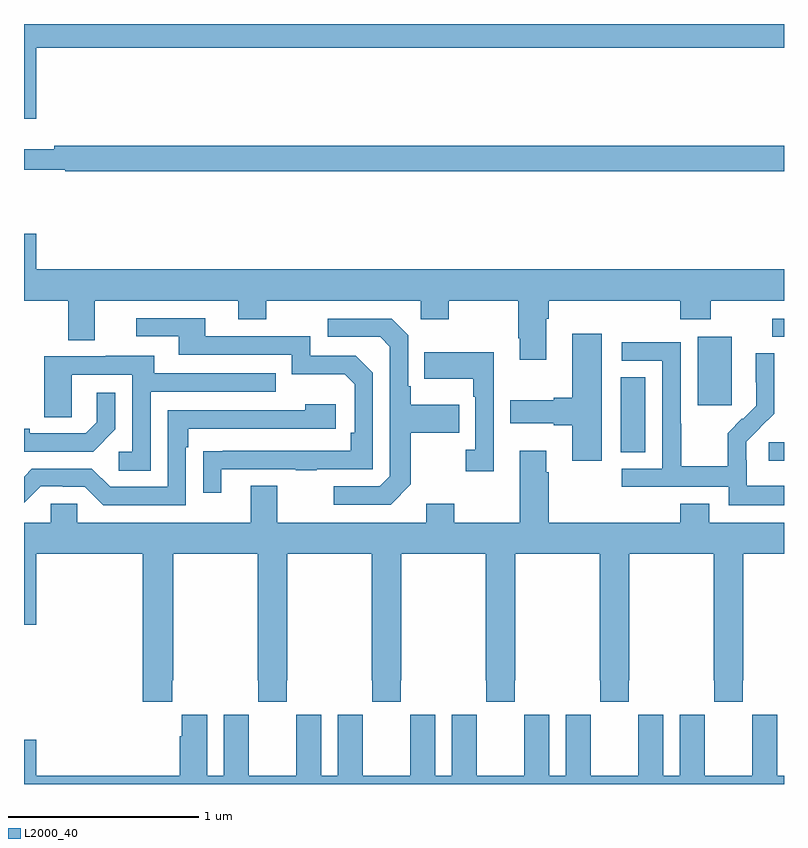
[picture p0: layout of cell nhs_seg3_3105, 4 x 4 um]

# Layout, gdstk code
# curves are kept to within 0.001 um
import gdstk
lib = gdstk.Library(unit=1e-6, precision=1e-09)
def R(c, l, rs):  # rectangles x0, y0, x1, y1
    for r in rs: c.add(gdstk.rectangle(r[:2], r[2:], *l))
def P(c, l, *ps):  # polygons
    for p in ps: c.add(gdstk.Polygon(p, *l))
L2000_40 = (2000, 40)

nhs_seg3_3105 = lib.new_cell('nhs_seg3_3105')
R(nhs_seg3_3105, L2000_40, [(276.921,672.101,277,672.198), (276.14,672.145,276.271,672.542), (276.545,672.393,276.724,672.754), (276.939,672.753,277,672.849)])
P(nhs_seg3_3105, L2000_40, [(273.064,674.276),(277,674.276),(277,674.4),(273,674.4),(273,673.902),(273.064,673.902)],
  [(277,673.76),(273.16,673.76),(273.16,673.741),(273,673.741),(273,673.632),(273.218,673.632),(273.218,673.624),(277,673.624)],
  [(275.749,672.848),(275.762,672.848),(275.762,672.944),(276.455,672.944),(276.455,672.845),(276.615,672.845),(276.615,672.944),(277,672.944),(277,673.108),(273.064,673.108),(273.064,673.297),(273,673.297),(273,672.944),(273.233,672.944),(273.233,672.736),(273.373,672.736),(273.373,672.944),(274.127,672.944),(274.127,672.845),(274.275,672.845),(274.275,672.944),(275.088,672.944),(275.088,672.845),(275.235,672.845),(275.235,672.944),(275.602,672.944),(275.602,672.745),(275.609,672.745),(275.609,672.633),(275.749,672.633)],
  [(274.039,672.057),(274.429,672.057),(274.429,672.052),(274.541,672.052),(274.541,672.057),(274.836,672.057),(274.836,672.564),(274.746,672.654),(274.506,672.654),(274.506,672.756),(273.955,672.756),(273.955,672.852),(273.591,672.852),(273.591,672.756),(273.815,672.756),(273.815,672.66),(274.41,672.66),(274.41,672.557),(274.687,672.557),(274.74,672.504),(274.74,672.25),(274.72,672.25),(274.72,672.153),(273.943,672.152),(273.943,671.934),(274.039,671.934)],
  [(275.035,671.977),(275.035,672.25),(275.291,672.25),(275.291,672.397),(275.035,672.397),(275.035,672.493),(275.022,672.493),(275.022,672.762),(274.935,672.849),(274.599,672.849),(274.599,672.753),(274.875,672.753),(274.926,672.702),(274.926,672.021),(274.872,671.967),(274.629,671.967),(274.629,671.871),(274.929,671.871)],
  [(276.04,672.769),(275.885,672.769),(275.885,672.434),(275.789,672.434),(275.789,672.421),(275.559,672.421),(275.559,672.299),(275.789,672.299),(275.789,672.287),(275.885,672.287),(275.885,672.102),(276.04,672.102)],
  [(277,671.971),(276.804,671.971),(276.804,672.105),(276.802,672.105),(276.802,672.202),(276.948,672.35),(276.948,672.668),(276.852,672.668),(276.852,672.514),(276.854,672.514),(276.854,672.392),(276.783,672.321),(276.78,672.324),(276.703,672.247),(276.703,672.073),(276.459,672.073),(276.459,672.296),(276.456,672.296),(276.456,672.726),(276.147,672.726),(276.147,672.627),(276.36,672.627),(276.36,672.06),(276.147,672.06),(276.147,671.964),(276.708,671.964),(276.708,671.867),(277,671.867)],
  [(275.472,672.673),(275.107,672.673),(275.107,672.533),(275.364,672.533),(275.364,672.437),(275.376,672.437),(275.376,672.158),(275.325,672.158),(275.325,672.045),(275.472,672.045)],
  [(273.666,672.465),(274.325,672.465),(274.325,672.561),(273.685,672.561),(273.685,672.655),(273.431,672.655),(273.431,672.651),(273.107,672.651),(273.107,672.331),(273.252,672.331),(273.252,672.555),(273.57,672.555),(273.57,672.15),(273.498,672.15),(273.498,672.049),(273.666,672.049)],
  [(273.48,672.266),(273.48,672.46),(273.383,672.46),(273.383,672.303),(273.326,672.246),(273.031,672.246),(273.031,672.269),(273,672.269),(273,672.15),(273.364,672.15)],
  [(273.852,672.173),(273.865,672.173),(273.865,672.27),(274.642,672.27),(274.642,672.4),(274.481,672.4),(274.481,672.366),(273.756,672.366),(273.756,671.964),(273.453,671.964),(273.357,672.06),(273.042,672.06),(273,672.018),(273,671.88),(273.087,671.967),(273.203,671.967),(273.203,671.964),(273.321,671.964),(273.417,671.868),(273.852,671.868)],
  [(273.779,670.945),(273.786,670.945),(273.786,671.612),(274.231,671.612),(274.231,670.945),(274.233,670.945),(274.233,670.833),(274.383,670.833),(274.383,670.945),(274.386,670.945),(274.386,671.612),(274.831,671.612),(274.831,670.945),(274.833,670.945),(274.833,670.833),(274.983,670.833),(274.983,670.945),(274.986,670.945),(274.986,671.612),(275.431,671.612),(275.431,670.945),(275.433,670.945),(275.433,670.833),(275.583,670.833),(275.583,670.945),(275.586,670.945),(275.586,671.612),(276.031,671.612),(276.031,670.945),(276.033,670.945),(276.033,670.833),(276.183,670.833),(276.183,670.945),(276.186,670.945),(276.186,671.612),(276.631,671.612),(276.631,670.945),(276.633,670.945),(276.633,670.833),(276.783,670.833),(276.783,670.945),(276.786,670.945),(276.786,671.612),(277,671.612),(277,671.776),(276.607,671.776),(276.607,671.875),(276.455,671.875),(276.455,671.776),(275.762,671.776),(275.762,672.041),(275.749,672.041),(275.749,672.154),(275.609,672.154),(275.609,671.776),(275.265,671.776),(275.265,671.875),(275.117,671.875),(275.117,671.776),(274.333,671.776),(274.333,671.971),(274.193,671.971),(274.193,671.776),(273.279,671.776),(273.279,671.874),(273.141,671.874),(273.141,671.776),(273,671.776),(273,671.238),(273.064,671.238),(273.064,671.612),(273.626,671.612),(273.626,670.833),(273.779,670.833)],
  [(277,670.444),(276.964,670.444),(276.964,670.765),(276.834,670.765),(276.834,670.652),(276.833,670.652),(276.833,670.444),(276.583,670.444),(276.583,670.652),(276.582,670.652),(276.582,670.765),(276.452,670.765),(276.452,670.444),(276.364,670.444),(276.364,670.765),(276.234,670.765),(276.234,670.652),(276.233,670.652),(276.233,670.444),(275.983,670.444),(275.983,670.652),(275.982,670.652),(275.982,670.765),(275.852,670.765),(275.852,670.444),(275.764,670.444),(275.764,670.765),(275.634,670.765),(275.634,670.652),(275.633,670.652),(275.633,670.444),(275.383,670.444),(275.383,670.652),(275.382,670.652),(275.382,670.765),(275.252,670.765),(275.252,670.444),(275.164,670.444),(275.164,670.765),(275.034,670.765),(275.034,670.652),(275.033,670.652),(275.033,670.444),(274.783,670.444),(274.783,670.652),(274.782,670.652),(274.782,670.765),(274.652,670.765),(274.652,670.444),(274.564,670.444),(274.564,670.765),(274.434,670.765),(274.434,670.652),(274.433,670.652),(274.433,670.444),(274.183,670.444),(274.183,670.652),(274.182,670.652),(274.182,670.765),(274.052,670.765),(274.052,670.444),(273.964,670.444),(273.964,670.765),(273.83,670.765),(273.83,670.652),(273.821,670.652),(273.821,670.444),(273.064,670.444),(273.064,670.633),(273,670.633),(273,670.4),(277,670.4)])

lib.write_gds('nhs_seg3_3105.gds')
